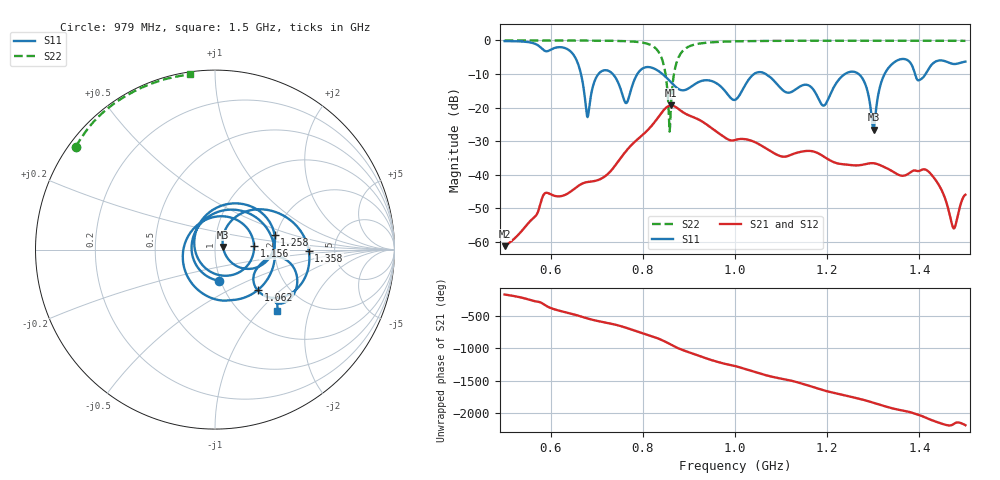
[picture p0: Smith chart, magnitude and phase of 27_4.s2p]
! TOUCHSTONE file generated by CST MICROWAVE STUDIO
! Date and time: Sat Nov 14 20:02:05 2020
! Project name: Scenario_1_Planar_Body_Tissue_Out_of_Line.cst
! Parameters = {dy1=-103.8; L_HA=400; Ltissue=700; MT=2.54; Rad_Dielectric=30; Rad_Lower=7.3; Rad_Upper=30; Wtissue=700; a_HA=580; a_WG=246; b_HA=500; b_WG=121; c_HA=0; c_WG=187; d_feed=85; dx1=693; h_feed=15; h_lower=18; h_upper=40; hfat=3; hgap=25; hmuscle=50; hskin=1.5}
! Header version: 2018
! Port assignment regex: !\s*Touchstone port\s*([0-9]+)\s*=\s*(CST MWS port|CST DS port)\s*([0-9]+|Zmin|Zmax)\s*\(\"(.*)\"\)(\s*mode\s*([0-9]+))?.*
! Touchstone port assignment:
! Touchstone port 1 = CST MWS port 1 ("")
! Touchstone port 2 = CST MWS port 2 ("")
# GHz S DB R 50
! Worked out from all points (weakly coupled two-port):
!   1003 points, 500 MHz to 1.5 GHz, reference 50 ohm
!   highest |S21| = -19.36 dB at 861 MHz (marker M1); lowest = -61.3 dB at 500 MHz (marker M2)
!   lowest |S11| = -26.6 dB at 1.301 GHz (marker M3), VSWR 1.10, Z = 54.6 + j1.68 ohm
!   |S11| at or under -10 dB: 842.5 MHz to 1.041 GHz (198.7 MHz wide, 21.1 % of centre); 1.067 GHz to 1.239 GHz (171.9 MHz wide, 14.9 % of centre); 1.268 GHz to 1.325 GHz (56.24 MHz wide, 4.34 % of centre) (the widest 3 of 6)
!   |S22| runs from -27.2 to 0.0 dB; largest |S21 - S12| = 0.00019
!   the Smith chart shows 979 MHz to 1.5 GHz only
!   S11 on the Smith chart (normalised r, x): 979 MHz: 0.98, -0.35; 1.062 GHz: 1.43, -0.71; 1.156 GHz: 1.55, +0.06; 1.258 GHz: 1.95, +0.35; 1.358 GHz: 3.19, -0.06; 1.5 GHz: 1.40, -1.25
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0.5  -0.20 -121.6  -61.27 -171.5  -61.27 -171.5  -0.01 151.2
0.622  -2.01 173.0  -46.39 -67.2  -46.39 -67.2  -0.02 142.4
0.667  -10.77 100.4  -42.73 -153.1  -42.73 -153.1  -0.04 138.4
0.68  -22.84 146.9  -42.16 178.7  -42.16 178.7  -0.05 137.1
0.709  -9.30 162.1  -41.21 129.5  -41.21 129.5  -0.08 133.8
0.764  -18.66 -31.3  -32.89 34.5  -32.89 34.5  -0.23 124.6
0.798  -8.48 161.9  -28.33 -45.6  -28.33 -45.6  -0.62 113.6
0.834  -9.12 59.7  -22.78 -132.8  -22.78 -132.8  -3.38 84.1
0.861  -12.43 -24.4  -19.36 133.6  -19.36 133.6  -19.33 -118.9
0.886  -14.86 -122.3  -21.28 52.2  -21.28 52.2  -3.21 -179.1
0.979  -15.17 -83.2  -28.99 -163.5  -28.99 -163.5  -0.34 143.5
1  -17.70 -179.7  -29.66 164.0  -29.66 164.0  -0.26 140.2
1.062  -9.67 -42.8  -31.70 31.8  -31.70 31.8  -0.15 133.2
1.156  -13.22 5.1  -32.91 -130.8  -32.91 -130.8  -0.10 125.1
1.167  -14.13 -31.6  -32.98 -156.0  -32.98 -156.0  -0.09 124.2
1.258  -9.34 13.4  -37.20 37.9  -37.20 37.9  -0.08 117.3
1.301  -26.59 19.1  -36.58 -45.2  -36.58 -45.2  -0.08 114.0
1.334  -8.03 31.9  -38.38 -115.2  -38.38 -115.2  -0.09 111.5
1.358  -5.64 -0.7  -40.18 -155.4  -40.18 -155.4  -0.09 109.7
1.421  -8.29 -7.4  -39.18 64.8  -39.18 64.8  -0.10 104.7
1.475  -7.02 -41.0  -55.99 -9.9  -56.00 -9.7  -0.12 100.2
1.5  -6.30 -44.6  -45.95 -29.9  -45.95 -29.9  -0.13 98.0
